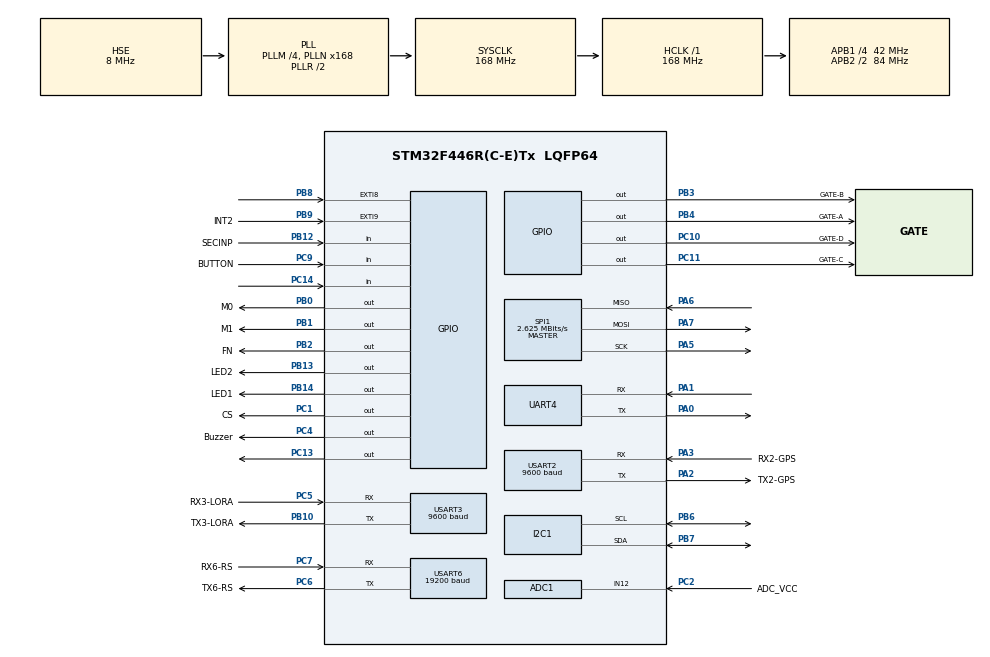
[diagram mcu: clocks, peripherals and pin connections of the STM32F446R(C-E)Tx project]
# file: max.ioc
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ADC1.Channel-11\#ChannelRegularConversion=ADC_CHANNEL_12
ADC1.ContinuousConvMode=ENABLE
ADC1.NbrOfConversionFlag=1
ADC1.Rank-11\#ChannelRegularConversion=1
ADC1.SamplingTime-11\#ChannelRegularConversion=ADC_SAMPLETIME_3CYCLES
ADC1.master=1
I2C1.I2C_Mode=I2C_Fast
Mcu.Family=STM32F4
Mcu.Name=STM32F446R(C-E)Tx
Mcu.Package=LQFP64
NVIC.ADC_IRQn=true\:0\:0\:false\:false\:true\:true\:true\:true
NVIC.PriorityGroup=NVIC_PRIORITYGROUP_4
NVIC.TIM1_TRG_COM_TIM11_IRQn=true\:0\:0\:false\:false\:true\:true\:true\:true
NVIC.TIM1_UP_TIM10_IRQn=true\:0\:0\:false\:false\:true\:true\:true\:true
NVIC.TIM2_IRQn=true\:0\:0\:false\:false\:true\:true\:true\:true
NVIC.TIM6_DAC_IRQn=true\:0\:0\:false\:false\:true\:true\:true\:true
NVIC.TIM7_IRQn=true\:0\:0\:false\:false\:true\:true\:true\:true
NVIC.USART2_IRQn=true\:0\:0\:false\:false\:true\:true\:true\:true
NVIC.USART3_IRQn=true\:0\:0\:false\:false\:true\:true\:true\:true
NVIC.USART6_IRQn=true\:0\:0\:false\:false\:true\:true\:true\:true
PA0-WKUP.Mode=Asynchronous
PA0-WKUP.Signal=UART4_TX
PA1.Mode=Asynchronous
PA1.Signal=UART4_RX
PA13.Mode=Serial_Wire
PA13.Signal=SYS_JTMS-SWDIO
PA14.Mode=Serial_Wire
PA14.Signal=SYS_JTCK-SWCLK
PA2.GPIO_Label=TX2-GPS
PA2.Mode=Asynchronous
PA2.Signal=USART2_TX
PA3.GPIO_Label=RX2-GPS
PA3.Mode=Asynchronous
PA3.Signal=USART2_RX
PA5.Mode=Full_Duplex_Master
PA5.Signal=SPI1_SCK
PA6.Mode=Full_Duplex_Master
PA6.Signal=SPI1_MISO
PA7.Mode=Full_Duplex_Master
PA7.Signal=SPI1_MOSI
PB0.GPIO_Label=M0
PB0.Signal=GPIO_Output
PB1.GPIO_Label=M1
PB1.Signal=GPIO_Output
PB10.GPIO_Label=TX3-LORA
PB10.Mode=Asynchronous
PB10.Signal=USART3_TX
PB12.GPIO_Label=SECINP
PB12.GPIO_PuPd=GPIO_PULLUP
PB12.Signal=GPIO_Input
PB13.GPIO_Label=LED2
PB13.Signal=GPIO_Output
PB14.GPIO_Label=LED1
PB14.Signal=GPIO_Output
PB2.GPIO_Label=FN
PB2.Signal=GPIO_Output
PB3.GPIO_Label=GATE-B
PB3.Signal=GPIO_Output
PB4.GPIO_Label=GATE-A
PB4.Signal=GPIO_Output
PB6.Mode=I2C
PB6.Signal=I2C1_SCL
PB7.Mode=I2C
PB7.Signal=I2C1_SDA
PB8.GPIO_ModeDefaultEXTI=GPIO_MODE_IT_RISING
PB8.Signal=GPXTI8
PB9.GPIO_Label=INT2
PB9.GPIO_PuPd=GPIO_NOPULL
PB9.Signal=GPXTI9
PC1.GPIO_Label=CS
PC1.Signal=GPIO_Output
PC10.GPIO_Label=GATE-D
PC10.Signal=GPIO_Output
PC11.GPIO_Label=GATE-C
PC11.Signal=GPIO_Output
PC13.Signal=GPIO_Output
PC14-OSC32_IN.GPIO_PuPd=GPIO_PULLDOWN
PC14-OSC32_IN.Signal=GPIO_Input
PC2.GPIO_Label=ADC_VCC
PC2.Signal=ADCx_IN12
PC4.GPIO_Label=Buzzer
PC4.Signal=GPIO_Output
PC5.GPIO_Label=RX3-LORA
PC5.Mode=Asynchronous
PC5.Signal=USART3_RX
PC6.GPIO_Label=TX6-RS
PC6.Mode=Asynchronous
PC6.Signal=USART6_TX
PC7.GPIO_Label=RX6-RS
PC7.Mode=Asynchronous
PC7.Signal=USART6_RX
PC9.GPIO_Label=BUTTON
PC9.GPIO_PuPd=GPIO_PULLUP
PC9.Signal=GPIO_Input
PH0-OSC_IN.Mode=HSE-External-Oscillator
PH0-OSC_IN.Signal=RCC_OSC_IN
PH1-OSC_OUT.Mode=HSE-External-Oscillator
PH1-OSC_OUT.Signal=RCC_OSC_OUT
ProjectManager.HeapSize=0x200
ProjectManager.StackSize=0x400
ProjectManager.TargetToolchain=STM32CubeIDE
RCC.AHBFreq_Value=168000000
RCC.APB1CLKDivider=RCC_HCLK_DIV4
RCC.APB1Freq_Value=42000000
RCC.APB1TimFreq_Value=84000000
RCC.APB2CLKDivider=RCC_HCLK_DIV2
RCC.APB2Freq_Value=84000000
RCC.APB2TimFreq_Value=168000000
RCC.CortexFreq_Value=168000000
RCC.HCLKFreq_Value=168000000
RCC.HSE_VALUE=8000000
RCC.PLLM=4
RCC.PLLN=168
RCC.PLLQ=7
RCC.PLLSourceVirtual=RCC_PLLSOURCE_HSE
RCC.SYSCLKFreq_VALUE=168000000
RCC.SYSCLKSource=RCC_SYSCLKSOURCE_PLLRCLK
RCC.USBFreq_Value=48000000
RCC.VCOOutputFreq_Value=336000000
SH.ADCx_IN12.0=ADC1_IN12,IN12
SPI1.BaudRatePrescaler=SPI_BAUDRATEPRESCALER_32
SPI1.CalculateBaudRate=2.625 MBits/s
SPI1.Direction=SPI_DIRECTION_2LINES
SPI1.Mode=SPI_MODE_MASTER
SPI1.VirtualType=VM_MASTER
TIM10.Period=3000-1
TIM10.Prescaler=1680
TIM11.Period=15000-1
TIM11.Prescaler=16800-1
TIM2.Period=12000-1
TIM2.Prescaler=8400-1
TIM6.Period=19999
TIM6.Prescaler=840
TIM7.Period=59999
TIM7.Prescaler=8400-1
UART4.VirtualMode=Asynchronous
USART2.BaudRate=9600
USART2.VirtualMode=VM_ASYNC
USART3.BaudRate=9600
USART3.VirtualMode=VM_ASYNC
USART6.BaudRate=19200
USART6.VirtualMode=VM_ASYNC
VP_FATFS_VS_Generic.Mode=User_defined
VP_TIM10_VS_ClockSourceINT.Mode=Enable_Timer
VP_TIM11_VS_ClockSourceINT.Mode=Enable_Timer
VP_TIM2_VS_ClockSourceINT.Mode=Internal
VP_TIM6_VS_ClockSourceINT.Mode=Enable_Timer
VP_TIM7_VS_ClockSourceINT.Mode=Enable_Timer
board=custom

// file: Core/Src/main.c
/* USER CODE BEGIN Header */
/**
  ******************************************************************************
  * @file           : main.c
  * @brief          : Main program body
  ******************************************************************************
  * @attention
  *
  * Copyright (c) 2024 STMicroelectronics.
  * All rights reserved.
  *
  * This software is licensed under terms that can be found in the LICENSE file
  * in the root directory of this software component.
  * If no LICENSE file comes with this software, it is provided AS-IS.
  *
  ******************************************************************************
  */
/* USER CODE END Header */
#include "main.h"
#include "fatfs.h"

/* USER CODE BEGIN Includes */
#include "lwgps/lwgps.h"
#include "LSM6DSLTR.h"
#include "./BME280/bme280.h"
#include "W25Qxx.h"
#include <math.h>
#include "FIR_FILTER.h"
#include "stdio.h"
#include "string.h"
#include "kalman.h"

/* USER CODE END Includes */

/* USER CODE BEGIN PD */
#define LORA_TX_BUFFER_SIZE 75
#define EGU_RX_BUFFER_SIZE 34
#define RX_BUFFER_SIZE 128
#define DEVICE_ID 2

#define GyroAlfa	0.2 //0.01
#define AccAlfa		0.4 // 0.1
#define HP_alpha 	0.92f // 0.8 en iyi
#define LP_alpha 	0.55f // 0.4 en iyi
#define beta		0.85
/* USER CODE END PD */

ADC_HandleTypeDef hadc1;

I2C_HandleTypeDef hi2c1;

SPI_HandleTypeDef hspi1;

TIM_HandleTypeDef htim2;
TIM_HandleTypeDef htim6;
TIM_HandleTypeDef htim7;
TIM_HandleTypeDef htim10;
TIM_HandleTypeDef htim11;

UART_HandleTypeDef huart4;
UART_HandleTypeDef huart2;
UART_HandleTypeDef huart3;
UART_HandleTypeDef huart6;

/* USER CODE BEGIN PV */
uint8_t EGU_RX_BUFFER[EGU_RX_BUFFER_SIZE];
uint8_t rx_data_EGU=0;
uint8_t rx_index_EGU=0;
const uint8_t EGU_durum_sorgusu[5]={0x54,0x52,0x35,0x0D,0x0A};
const uint8_t EGU_motor_atesleme[5]={0x54,0x52,0x32,0x0D,0x0A};

float adc_pil_val=0;
float adc =0;
uint8_t counter=0;
uint8_t adc_flag=0;

uint8_t rx_buffer[RX_BUFFER_SIZE];
uint8_t rx_index=0;
uint8_t rx_data=0;

uint8_t kademe_flag=0;
uint8_t timer_start_flag =0;
uint8_t altitude_rampa_control =0;

uint32_t page =0;
uint8_t offset =1;
uint8_t flash_flag =0;
uint8_t flash_timer =0;
uint8_t timer_200ms_flag =0;

int buzzer_long=0 , buzzer_short=0, buzzer_ariza=0 ;
int buzzer_short_counter , buzzer_long_counter , buzzer_ariza_counter;

float zaman=0 , zaman2=0, altitude_max=0;

uint8_t v4_battery=0;
uint8_t v4_mod=0;
uint8_t magnetic_switch=0;
uint8_t BUTTON_STATE=0;

uint8_t writeData[50] = {0,1,1,1};
uint8_t readData[50] = {0};
uint8_t i=0;
uint8_t i_flag=0;
uint8_t flash_altitude[1024]={0};
uint8_t flash_accX[1024]={0};
uint8_t flash_accZ[1024]={0};
uint8_t flash_accY[1024]={0};
uint8_t flash_gyroX[1024]={0};
uint8_t flash_gyroY[1024]={0};
uint8_t flash_gyroZ[1024]={0};

uint8_t loratx[LORA_TX_BUFFER_SIZE];
uint8_t test[256];
uint8_t lora_flag=0;
uint8_t sensor_flag=0;
uint8_t egu_durum_flag=0;
uint8_t egu_ok=0;
int kontrol_number=0 , speed_time, speed_time_prev;
int new_data=0;

float temperature=0;
float humidity=0;
float altitude=0;
float offset_altitude=0;
float pressure=0;
float alt=0;
float P0 = 1013.25;
float prev_alt=0;
float speed=0, speed_max=0;;
float altitude_kalman;

float real_pitch, real_roll , toplam_pitch,toplam_roll , toplam_accX , toplam_accY , toplam_accZ, toplam_gX,toplam_gY,toplam_gZ ,
	  toplam_normal,real_normal, x_max;
float offset_x,offset_y,offset_z, gyroX_prev, gyroY_prev,gyroZ_prev,
	  accX_prev, accY_prev,accZ_prev;
float filtered_gyroX ,filtered_gyroY,filtered_gyroZ, filtered_accX,
	  filtered_accY,filtered_accZ;
float filtered_gyro[3] , filtered_gyro_HP[3];
float filtered_acc_LP[3] , filtered_acc[3];
float gravity_normal_angle;

float gyroX_HP_prev = 0.0f, gyroY_HP_prev = 0.0f, gyroZ_HP_prev = 0.0f;
float filtered_gyro_HP_X = 0.0f, filtered_gyro_HP_Y = 0.0f, filtered_gyro_HP_Z = 0.0f;

float gyroX_LP_prev = 0.0f, gyroY_LP_prev = 0.0f, gyroZ_LP_prev = 0.0f , filtered_gyro_LP[3];

float looptime, prev_time1;

uint8_t  sensor_counter =0;

typedef union{
  float fVal;
  unsigned char array[4];
}float2unit8;

KalmanFilter kf , na , pa , ax,ay,az,gx,gy,gz;

enum ZORLU2024
{
	RAMPA,UCUS_BASLADI,KADEMEAYRILDIMI,AYRILDI,APOGEE,SUSTAINER_ANA,FINISH
};
enum ZORLU2024 SUSTAINER;

/* USER CODE END PV */

void SystemClock_Config(void);
static void MX_GPIO_Init(void);
static void MX_ADC1_Init(void);
static void MX_I2C1_Init(void);
static void MX_SPI1_Init(void);
static void MX_UART4_Init(void);
static void MX_USART2_UART_Init(void);
static void MX_USART3_UART_Init(void);
static void MX_USART6_UART_Init(void);
static void MX_TIM11_Init(void);
static void MX_TIM10_Init(void);
static void MX_TIM6_Init(void);
static void MX_TIM7_Init(void);
static void MX_TIM2_Init(void);
/* USER CODE BEGIN PFP */
int16_t I2C_Testsensor(void);
int8_t user_i2c_read(uint8_t id, uint8_t reg_addr, uint8_t *data, uint16_t len);
int8_t user_i2c_write(uint8_t id, uint8_t reg_addr, uint8_t *data, uint16_t len);
void user_delay_ms(uint32_t period);
float BME280_Get_Altitude(void);
void E220_CONFIG(uint8_t ADDH, uint8_t ADDL, uint8_t CHN, uint8_t MODE);
void union_converter(void);
void EGU_Buff_Load(void);
void Buzzer(int how_many , uint32_t how_long);
void Altitude_Offset();
void Flash_toplu_temizleme(int page);

/* USER CODE END PFP */

/* USER CODE BEGIN 0 */
lwgps_t gps;
LSM6DSLTR Lsm_Sensor;

FIRFilter accy;
FIRFilter accz;
FIRFilter accx;
FIRFilter IMU_GYROX;
FIRFilter IMU_GYROY;
FIRFilter IMU_GYROZ;
FIRFilter Normal;

struct bme280_dev dev;
struct bme280_data comp_data;
int8_t rslt=0;
float2unit8 conv;

float map( long A , long B , long C , long D, long E)
{
	return ( A - B) * (E - D ) / (C - B )+ D ;
}

void HAL_UART_RxCpltCallback(UART_HandleTypeDef *huart)
{
	if(huart==&huart2){
	if(rx_data != '\n' && rx_index < RX_BUFFER_SIZE) {
		rx_buffer[rx_index++] = rx_data;
	} else {
		lwgps_process(&gps, rx_buffer, rx_index+1);
		rx_index = 0;
		rx_data = 0;
	}
	HAL_UART_Receive_IT(&huart2, &rx_data, 1);
	}

	if(huart == &huart6){
		if(rx_data_EGU != '\n' && rx_index_EGU <34){//sol taraf silinebilir
			EGU_RX_BUFFER[rx_index_EGU++]=rx_data_EGU;

		}
		else
		{
			rx_data_EGU=0;
			rx_index_EGU=0;

		}
	HAL_UART_Receive_IT(&huart6, &rx_data_EGU, 1);
		}
}

void HAL_TIM_PeriodElapsedCallback(TIM_HandleTypeDef *htim)
{

	if(htim==&htim11){ // 1 sn
   lora_flag=1;

	}

	if(htim==&htim10){ //30ms
	sensor_flag=1;

	}

	if(htim==&htim6){ // 200 ms timer
	timer_200ms_flag = 1;
	egu_durum_flag=1;

		if(counter == 15)
		{
			adc_flag=1;
			counter =0;
			HAL_ADC_Start_IT(&hadc1);
		}

	}

}

void HAL_ADC_ConvCpltCallback(ADC_HandleTypeDef* hadc)
{
	if(hadc->Instance == ADC1 )
	{
		adc= HAL_ADC_GetValue(&hadc1);

		adc_flag = 1;
	}
}
/**********************************************/

/* USER CODE END 0 */

int main(void)
{

  /* MCU Configuration--------------------------------------------------------*/

  /* Reset of all peripherals, Initializes the Flash interface and the Systick. */
  HAL_Init();

  /* Configure the system clock */
  SystemClock_Config();

  /* Initialize all configured peripherals */
  MX_GPIO_Init();
  MX_ADC1_Init();
  MX_I2C1_Init();
  MX_SPI1_Init();
  MX_UART4_Init();
  MX_USART2_UART_Init();
  MX_USART3_UART_Init();
  MX_USART6_UART_Init();
  MX_FATFS_Init();
  MX_TIM11_Init();
  MX_TIM10_Init();
  MX_TIM6_Init();
  MX_TIM7_Init();
  MX_TIM2_Init();
  /* USER CODE BEGIN 2 */

  HAL_GPIO_WritePin(GPIOC, GPIO_PIN_1, GPIO_PIN_SET);
  HAL_GPIO_WritePin(GPIOB, GPIO_PIN_2, GPIO_PIN_SET);
  HAL_GPIO_WritePin(GPIOC, GPIO_PIN_13, GPIO_PIN_SET);

  ///KURTARMA PORTLARI KAPALI EMIN OL
  HAL_GPIO_WritePin(GPIOB, GPIO_PIN_4, GPIO_PIN_RESET);//A
  HAL_GPIO_WritePin(GPIOB, GPIO_PIN_3, GPIO_PIN_RESET);//B
  HAL_GPIO_WritePin(GPIOC, GPIO_PIN_11, GPIO_PIN_RESET);//C
  HAL_GPIO_WritePin(GPIOC, GPIO_PIN_10, GPIO_PIN_RESET);//D

  HAL_UART_Receive_IT(&huart2,&rx_data,1);
  HAL_UART_Receive_IT(&huart6, &rx_data_EGU, 1);
  HAL_TIM_Base_Start_IT(&htim11);
  HAL_TIM_Base_Start_IT(&htim10);
  HAL_TIM_Base_Start_IT(&htim6);
  HAL_TIM_Base_Stop_IT(&htim7);
  //HAL_TIM_Base_Start_IT(&htim2);

  MAFilter_Init(&accx);
  FIRFilter_Init(&IMU_GYROY);
  FIRFilter_Init(&IMU_GYROX);
  FIRFilter_Init(&IMU_GYROZ);
  FIRFilter_Init(&Normal);
  KalmanFilter_Init(&ax, 0.2, 2, toplam_accX);
  KalmanFilter_Init(&ay, 0.2, 2, toplam_accY);
  KalmanFilter_Init(&az, 0.2, 2, toplam_accZ);
  KalmanFilter_Init(&gx, 0.2, 2, toplam_gX);
  KalmanFilter_Init(&gy, 0.2, 2, toplam_gY);
  KalmanFilter_Init(&gz, 0.2, 2, toplam_gZ);
  KalmanFilter_Init(&kf, 0.2, 1, toplam_gZ);

  lwgps_init(&gps);
 // W25Q_Reset();
  LSM6DSLTR_Init();
  E220_CONFIG(0x6,0x4A,0X10,1);
  HAL_ADC_Start_IT(&hadc1);

  dev.dev_id = BME280_I2C_ADDR_PRIM;
  dev.intf = BME280_I2C_INTF;
  dev.read = user_i2c_read;
  dev.write = user_i2c_write;
  dev.delay_ms = user_delay_ms;

  rslt = bme280_init(&dev);

  dev.settings.osr_h = BME280_OVERSAMPLING_1X;
  dev.settings.osr_p = BME280_OVERSAMPLING_4X;
  dev.settings.osr_t = BME280_OVERSAMPLING_2X;
  dev.settings.filter = BME280_FILTER_COEFF_16;
  rslt = bme280_set_sensor_settings(BME280_OSR_PRESS_SEL | BME280_OSR_TEMP_SEL | BME280_OSR_HUM_SEL | BME280_FILTER_SEL, &dev);

  ////ALTITUDE OFFSET

  for(int i = 0; i<5;i++)
  {

	      LSM6DSLTR_Read_Gyro_Data(&Lsm_Sensor);

	      offset_x += Lsm_Sensor.Gyro_X;
		  offset_y += Lsm_Sensor.Gyro_Y;
		  offset_z += Lsm_Sensor.Gyro_Z;
		  HAL_Delay(10);
  }
  offset_x=offset_x/5;
  offset_y=offset_y/5;
  offset_z=offset_z/5;

   HAL_GPIO_TogglePin(GPIOC, GPIO_PIN_4);
   Altitude_Offset();
   HAL_Delay(1000);
   HAL_GPIO_TogglePin(GPIOC, GPIO_PIN_4);

 //  W25Q_Read(1, 0,  256, test);
//   HAL_GPIO_WritePin(GPIOB, GPIO_PIN_4, SET);
//   HAL_Delay(2000);
//   HAL_GPIO_WritePin(GPIOB, GPIO_PIN_4, RESET);

 //  W25Q_Read(1, 0, sizeof(flash_accX), flash_accX);
   buzzer_short = 0;

  /* USER CODE END 2 */

  /* Infinite loop */
  /* USER CODE BEGIN WHILE */
  while (1)
  {

/********************* Sensor Ölçüm **************************************************/

	  if(sensor_flag == 1)
	  {
	      sensor_flag = 0;
	      prev_alt = altitude;
	      rslt = bme280_set_sensor_mode(BME280_FORCED_MODE, &dev);
	      rslt = bme280_get_sensor_data(BME280_ALL, &comp_data, &dev);

	      LSM6DSLTR_Read_Accel_Data(&Lsm_Sensor);
	      LSM6DSLTR_Read_Gyro_Data(&Lsm_Sensor);

	      toplam_accX += KalmanFilter_Update(&ax,Lsm_Sensor.Accel_X);
	      toplam_accY += KalmanFilter_Update(&ay,Lsm_Sensor.Accel_Y );
	      toplam_accZ += KalmanFilter_Update(&az,Lsm_Sensor.Accel_Z );
	      toplam_gX +=  KalmanFilter_Update(&gx,Lsm_Sensor.Gyro_X-offset_x  );
	      toplam_gY +=  KalmanFilter_Update(&gy,Lsm_Sensor.Gyro_Y -offset_y );
	      toplam_gZ +=  KalmanFilter_Update(&gz,Lsm_Sensor.Gyro_Z -offset_z );

	      sensor_counter++;
	      if(sensor_counter == 10)
	      {

		      if(rslt == BME280_OK )
		      {
		          temperature = comp_data.temperature / 100.00;
		          humidity = comp_data.humidity;
		          pressure = comp_data.pressure;
		          altitude = BME280_Get_Altitude() - offset_altitude;
		          altitude_kalman = KalmanFilter_Update(&kf, altitude);
		         // speed_time = (HAL_GetTick()-speed_time_prev)/1000.0f;
		          speed = (altitude - prev_alt) * 3.33;
		         // speed_time_prev = speed_time;
		      }

				  // High pass filter for gyroscope data
//			  filtered_gyro_HP_X = HP_alpha * (gyroX_HP_prev + toplam_gX/10.0f - gyroX_HP_prev);
//			  filtered_gyro_HP_Y = HP_alpha * (gyroY_HP_prev + toplam_gY/10.0f - gyroY_HP_prev);
//			  filtered_gyro_HP_Z = HP_alpha * (gyroZ_HP_prev + toplam_gZ/10.0f - gyroZ_HP_prev);

			  filtered_gyro_LP[0] = LP_alpha * toplam_gX/10.0f + (1.0 - LP_alpha) * gyroX_LP_prev;
			  filtered_gyro_LP[1] = LP_alpha * toplam_gY/10.0f + (1.0 - LP_alpha) * gyroY_LP_prev ;
			  filtered_gyro_LP[2] = LP_alpha * toplam_gZ/10.0f + (1.0 - LP_alpha) * gyroZ_LP_prev;

			/*************************** ********************************/
			  filtered_gyro_HP_X = beta * (gyroX_HP_prev +  filtered_gyro_LP[0] - gyroX_LP_prev);
			  filtered_gyro_HP_Y = beta * (gyroY_HP_prev + filtered_gyro_LP[1] - gyroY_LP_prev);
			  filtered_gyro_HP_Z = beta * (gyroZ_HP_prev +  filtered_gyro_LP[2] - gyroZ_LP_prev);

			  gyroX_LP_prev =  filtered_gyro_LP[0];
			  gyroY_LP_prev =  filtered_gyro_LP[1];
			  gyroZ_LP_prev =  filtered_gyro_LP[2];

			  // Low pass filter for accelerometer data
			  filtered_acc_LP[0] = LP_alpha * filtered_acc_LP[0] + (1 - LP_alpha) *  toplam_accX / 10.0;
			  filtered_acc_LP[1] = LP_alpha * filtered_acc_LP[1] + (1 - LP_alpha) *  toplam_accY / 10.0;
			  filtered_acc_LP[2] = LP_alpha * filtered_acc_LP[2] + (1 - LP_alpha) *  toplam_accZ / 10.0;

			  gyroX_HP_prev = filtered_gyro_HP_X;
			  gyroY_HP_prev = filtered_gyro_HP_Y;
			  gyroZ_HP_prev = filtered_gyro_HP_Z;

			  real_roll = atan2f(filtered_acc_LP[1], sqrtf(filtered_acc_LP[0] * filtered_acc_LP[0] + filtered_acc_LP[2] * filtered_acc_LP[2] +  1e-10)) * 180.0f / 3.14;
			  real_pitch = atan2f(-filtered_acc_LP[0], sqrtf(filtered_acc_LP[1] * filtered_acc_LP[1] + filtered_acc_LP[2] * filtered_acc_LP[2]+ 1e-10)) * 180.0f / 3.14;

			  uint32_t current_time = HAL_GetTick(); // current time
			  float dt = (current_time - prev_time1) / 1000.0f;

			  real_roll = ALPHA * (real_roll + filtered_gyro_HP_X * dt) + (1 - ALPHA) * real_roll;
			  real_pitch = ALPHA * (real_pitch + filtered_gyro_HP_Y * dt) + (1 - ALPHA) * real_pitch;

			  prev_time1 = current_time;
			  gravity_normal_angle = sqrtf(real_roll * real_roll + real_pitch * real_pitch);

			  toplam_roll = 0;
			  toplam_pitch = 0;
			  toplam_accX = 0;
			  toplam_accY = 0;
			  toplam_accZ = 0;
			  toplam_gX = 0;
			  toplam_gY = 0;
			  toplam_gZ = 0;
			  sensor_counter = 0;
			  new_data =1;
	      }

	      magnetic_switch = HAL_GPIO_ReadPin(GPIOC, GPIO_PIN_14);
	      BUTTON_STATE = HAL_GPIO_ReadPin(GPIOC, GPIO_PIN_9);
	  }

/********************Lora Ayar ve Gönderme*****************************************************/
	if(lora_flag==1)
	{
	    lora_flag=0;

		loratx[0]=0x8;
		loratx[1]=0x2A;
		loratx[2]=0x10;
		loratx[3]=DEVICE_ID;
		loratx[4]=gps.sats_in_view;

		union_converter();

		loratx[49]=v4_battery;
		loratx[50]=0x31;// v4mod
		loratx[51]=magnetic_switch;

		loratx[73] = v4_mod;

		////////EGU PART
		EGU_Buff_Load();

		HAL_UART_Transmit_IT(&huart3,loratx,sizeof(loratx));
		//HAL_UART_Transmit(&huart3,loratx,sizeof(loratx), 1000);

	}

/************ EGÜ durum sorgusu gönder **************************************************/
	if(egu_durum_flag==1)
	{
		egu_durum_flag=0;
		HAL_UART_Transmit(&huart6, EGU_durum_sorgusu, 5, 1000);
	}

/**************************Algoritma****************************************************/
		  switch(SUSTAINER){

		  case RAMPA:
						v4_mod=1;
					  //RAMPA MODU ROKET RAMPADA EGÜ SWİTCHLERİ VE ALT KADEME HABERLE�?ME KONTROL ET

						if(Lsm_Sensor.Accel_X > 5 && new_data == 1 )
						  {
							kontrol_number++;
							new_data =0;

						  }
						if(kontrol_number >3)
						{
							SUSTAINER=UCUS_BASLADI;
							kontrol_number=0;
							HAL_GPIO_TogglePin(GPIOC, GPIO_PIN_4);
						}

			  break;

		  case UCUS_BASLADI:
						v4_mod=2;
						// FLASH MEMORYE KAYDETMEYE BASLA

						SUSTAINER=KADEMEAYRILDIMI;

			 break;

		  case KADEMEAYRILDIMI:
						v4_mod=3;
							  //ALT KADEMEDEN GELEN SİNYALE VE EGÜ SWİTCHLERİNE BAK
							  //BELLİ BİR SÜRE VE İRTİFA BOYUNCA AYRILMA OLMAZSA APOGEE YA GEÇ
						if(timer_start_flag == 0){

							__HAL_TIM_SET_COUNTER(&htim7 , 0);
							HAL_TIM_Base_Start(&htim7);
							timer_start_flag =1;
						}

						if((magnetic_switch==0) && TIM7->CNT >= 45000 && altitude_rampa_control == 1)
						{
							kontrol_number++;
							 new_data=0;
						}

						if(kontrol_number >10)
						{
							 SUSTAINER=AYRILDI;
							kontrol_number=0;
						}

			 break;

		  case AYRILDI:
						v4_mod=4;
							  //MOTOR ATE�?LEME TALEBİ GÖNDER MEGU YE MESAJ AT

						HAL_UART_Transmit(&huart6, EGU_motor_atesleme, 5, 1000);
						HAL_UART_Transmit(&huart6, EGU_motor_atesleme, 5, 1000);
						HAL_UART_Transmit(&huart6, EGU_motor_atesleme, 5, 1000);
						HAL_UART_Transmit(&huart6, EGU_motor_atesleme, 5, 1000);
						HAL_UART_Transmit(&huart6, EGU_motor_atesleme, 5, 1000);
						SUSTAINER=APOGEE;

			 break;

		  case APOGEE:
						v4_mod=5;
							  //AYRILMA GERÇEKLE�?MESE BİLE APOGEE İLE ROKETİ KURTAR *ucus basladı kısmına timer kuracam ona göre ayrıldımıdan APOGEEya geçecek

						if(/*Lsm_Sensor.Accel_X <0 && */ altitude < altitude_max && new_data ==1 && real_pitch <60 )
						{
							kontrol_number++;
							 new_data=0;

						}
						if(kontrol_number >10)
						{
							SUSTAINER=SUSTAINER_ANA;
							altitude_rampa_control =0;
							HAL_GPIO_WritePin(GPIOB, GPIO_PIN_4, SET);
							kontrol_number=0;
							HAL_GPIO_TogglePin(GPIOC, GPIO_PIN_4);
						}

			 break;

		  case SUSTAINER_ANA:
						v4_mod=6;
							  //AYRILDI VEYA APOGEEDAN GELEN APOGEE BİLGİSİNDEN SONRA İSTENEN İRTİFADA ANA PARA�?ÜT AÇ

						if(altitude <= 500 && speed < 0  && altitude_rampa_control == 0 && new_data==1 )
						{
							kontrol_number++;
							 new_data=0;
						}
						if(kontrol_number >10)
						{
						SUSTAINER=FINISH;
						HAL_GPIO_WritePin(GPIOB, GPIO_PIN_3, SET);
						HAL_GPIO_WritePin(GPIOB, GPIO_PIN_4, RESET);
						HAL_Delay(50);
							kontrol_number=0;
							flash_flag=1;
						}

			  break;

		  case FINISH:
						v4_mod=7;
							  //KURTARMA GERÇEKLE�?Tİ VERİ KAYDETMEYİ BIRAK VE BUZZERI AÇ

						HAL_GPIO_WritePin(GPIOB, GPIO_PIN_3, RESET);

			  break;
		  }

/**************************************************************************************/
		  if(altitude >100 && SUSTAINER <3)
		  {
			  altitude_rampa_control =1;
		  }
/*************************************************************************************/
		  if(altitude>altitude_max) altitude_max = altitude;

		  if(speed>speed_max) speed_max = speed;

		  if( Lsm_Sensor.Accel_X> x_max) x_max =  Lsm_Sensor.Accel_X;
/**************************************************************************************/
		  if(adc_flag ==1)
		  {
			  if(adc > 2476) adc = 2234;
			  if(adc < 1755) adc = 1755;
			  // 6V = 1755 adc val 1,41V
			  // 8.4V = 2476 adc val 1,99V 0,58V
			 adc_pil_val=(float)( ( ( (adc/4095)*3.3)-1.41) / (1.99-1.41) ) *100 ; // pil conv
			 // adc_pil_val = (adc-1755)/(2746-1755)*100;
			  v4_battery=adc_pil_val;
			  adc_flag=0;
		  }
/**********************Flash Kayıt*********************************************************/
//	if( i_flag == 1 && flash_flag == 1 && SUSTAINER >=6 ) //
//	{
//
//		W25Q_Write(page, 0, 256, flash_accX);
//		HAL_Delay(200);
//		page++;
//		W25Q_Write(page, 0, 256, flash_accY);
//		HAL_Delay(200);
//		page++;
//		W25Q_Write(page, 0, 256, flash_accZ);
//		HAL_Delay(200);
//		page++;
//		W25Q_Write(page, 0,256, flash_gyroX);
//		HAL_Delay(200);
//		page++;
//		W25Q_Write(page, 0, 256, flash_gyroY);
//		HAL_Delay(200);
//		page++;
//		W25Q_Write(page, 0,256, flash_gyroZ);
//		HAL_Delay(200);
//		page++;
//		W25Q_Write(page, 0,256, flash_altitude);
//		HAL_Delay(200);
//
//		W25Q_Read(page, 0,  256, test);
//
//		flash_flag=0;
//		i_flag=0;
//	}
//
	if( timer_200ms_flag == 1 && i_flag ==0 /*&& SUSTAINER >=1*/)
	{
		if(i >= 252) {
			i_flag=1;
		}

		conv.fVal=Lsm_Sensor.Accel_X;

		flash_accX[i] = conv.array[0];
		flash_accX[i+1] = conv.array[1];
		flash_accX[i+2] = conv.array[2];
		flash_accX[i+3] = conv.array[3];

		conv.fVal=Lsm_Sensor.Accel_Y;
		flash_accY[i] = conv.array[0];
		flash_accY[i+1] = conv.array[1];
		flash_accY[i+2] = conv.array[2];
		flash_accY[i+3] = conv.array[3];

		conv.fVal=Lsm_Sensor.Accel_Z;
		flash_accZ[i] = conv.array[0];
		flash_accZ[i+1] = conv.array[1];
		flash_accZ[i+2] = conv.array[2];
		flash_accZ[i+3] = conv.array[3];

		conv.fVal=Lsm_Sensor.Gyro_X;
		flash_gyroX[i] = conv.array[0];
		flash_gyroX[i+1] = conv.array[1];
		flash_gyroX[i+2] = conv.array[2];
		flash_gyroX[i+3] = conv.array[3];

		conv.fVal=Lsm_Sensor.Gyro_Y;
		flash_gyroY[i] = conv.array[0];
		flash_gyroY[i+1] = conv.array[1];
		flash_gyroY[i+2] = conv.array[2];
		flash_gyroY[i+3] = conv.array[3];

		conv.fVal=Lsm_Sensor.Gyro_Z;
		flash_gyroZ[i] = conv.array[0];
		flash_gyroZ[i+1] = conv.array[1];
		flash_gyroZ[i+2] = conv.array[2];
		flash_gyroZ[i+3] = conv.array[3];

		conv.fVal=altitude_kalman;
		flash_altitude[i] = conv.array[0];
		flash_altitude[i+1] = conv.array[1];
		flash_altitude[i+2] = conv.array[2];
		flash_altitude[i+3] = conv.array[3];

		timer_200ms_flag =0;

		i=i+4;

	}
/***********************************END*************************************************/
    /* USER CODE END WHILE */

  }
}

void SystemClock_Config(void)
{
  RCC_OscInitTypeDef RCC_OscInitStruct = {0};
  RCC_ClkInitTypeDef RCC_ClkInitStruct = {0};

  /** Configure the main internal regulator output voltage
  */
  __HAL_RCC_PWR_CLK_ENABLE();
  __HAL_PWR_VOLTAGESCALING_CONFIG(PWR_REGULATOR_VOLTAGE_SCALE1);

  /** Initializes the RCC Oscillators according to the specified parameters
  * in the RCC_OscInitTypeDef structure.
  */
  RCC_OscInitStruct.OscillatorType = RCC_OSCILLATORTYPE_HSE;
  RCC_OscInitStruct.HSEState = RCC_HSE_ON;
  RCC_OscInitStruct.PLL.PLLState = RCC_PLL_ON;
  RCC_OscInitStruct.PLL.PLLSource = RCC_PLLSOURCE_HSE;
  RCC_OscInitStruct.PLL.PLLM = 4;
  RCC_OscInitStruct.PLL.PLLN = 168;
  RCC_OscInitStruct.PLL.PLLP = RCC_PLLP_DIV2;
  RCC_OscInitStruct.PLL.PLLQ = 7;
  RCC_OscInitStruct.PLL.PLLR = 2;
  if (HAL_RCC_OscConfig(&RCC_OscInitStruct) != HAL_OK)
  {
    Error_Handler();
  }

  /** Initializes the CPU, AHB and APB buses clocks
  */
  RCC_ClkInitStruct.ClockType = RCC_CLOCKTYPE_HCLK|RCC_CLOCKTYPE_SYSCLK
                              |RCC_CLOCKTYPE_PCLK1|RCC_CLOCKTYPE_PCLK2;
  RCC_ClkInitStruct.SYSCLKSource = RCC_SYSCLKSOURCE_PLLRCLK;
  RCC_ClkInitStruct.AHBCLKDivider = RCC_SYSCLK_DIV1;
  RCC_ClkInitStruct.APB1CLKDivider = RCC_HCLK_DIV4;
  RCC_ClkInitStruct.APB2CLKDivider = RCC_HCLK_DIV2;

  if (HAL_RCC_ClockConfig(&RCC_ClkInitStruct, FLASH_LATENCY_5) != HAL_OK)
  {
    Error_Handler();
  }
}

static void MX_ADC1_Init(void)
{

  ADC_ChannelConfTypeDef sConfig = {0};

  /** Configure the global features of the ADC (Clock, Resolution, Data Alignment and number of conversion)
  */
  hadc1.Instance = ADC1;
  hadc1.Init.ClockPrescaler = ADC_CLOCK_SYNC_PCLK_DIV4;
  hadc1.Init.Resolution = ADC_RESOLUTION_12B;
  hadc1.Init.ScanConvMode = DISABLE;
  hadc1.Init.ContinuousConvMode = ENABLE;
  hadc1.Init.DiscontinuousConvMode = DISABLE;
  hadc1.Init.ExternalTrigConvEdge = ADC_EXTERNALTRIGCONVEDGE_NONE;
  hadc1.Init.ExternalTrigConv = ADC_SOFTWARE_START;
  hadc1.Init.DataAlign = ADC_DATAALIGN_RIGHT;
  hadc1.Init.NbrOfConversion = 1;
  hadc1.Init.DMAContinuousRequests = DISABLE;
  hadc1.Init.EOCSelection = ADC_EOC_SINGLE_CONV;
  if (HAL_ADC_Init(&hadc1) != HAL_OK)
  {
    Error_Handler();
  }

  /** Configure for the selected ADC regular channel its corresponding rank in the sequencer and its sample time.
  */
  sConfig.Channel = ADC_CHANNEL_12;
  sConfig.Rank = 1;
  sConfig.SamplingTime = ADC_SAMPLETIME_3CYCLES;
  if (HAL_ADC_ConfigChannel(&hadc1, &sConfig) != HAL_OK)
  {
    Error_Handler();
  }

}

static void MX_I2C1_Init(void)
{

  hi2c1.Instance = I2C1;
  hi2c1.Init.ClockSpeed = 400000;
  hi2c1.Init.DutyCycle = I2C_DUTYCYCLE_2;
  hi2c1.Init.OwnAddress1 = 0;
  hi2c1.Init.AddressingMode = I2C_ADDRESSINGMODE_7BIT;
  hi2c1.Init.DualAddressMode = I2C_DUALADDRESS_DISABLE;
  hi2c1.Init.OwnAddress2 = 0;
  hi2c1.Init.GeneralCallMode = I2C_GENERALCALL_DISABLE;
  hi2c1.Init.NoStretchMode = I2C_NOSTRETCH_DISABLE;
  if (HAL_I2C_Init(&hi2c1) != HAL_OK)
  {
    Error_Handler();
  }

}

static void MX_SPI1_Init(void)
{

  /* SPI1 parameter configuration*/
  hspi1.Instance = SPI1;
  hspi1.Init.Mode = SPI_MODE_MASTER;
  hspi1.Init.Direction = SPI_DIRECTION_2LINES;
  hspi1.Init.DataSize = SPI_DATASIZE_8BIT;
  hspi1.Init.CLKPolarity = SPI_POLARITY_LOW;
  hspi1.Init.CLKPhase = SPI_PHASE_1EDGE;
  hspi1.Init.NSS = SPI_NSS_SOFT;
  hspi1.Init.BaudRatePrescaler = SPI_BAUDRATEPRESCALER_32;
  hspi1.Init.FirstBit = SPI_FIRSTBIT_MSB;
  hspi1.Init.TIMode = SPI_TIMODE_DISABLE;
  hspi1.Init.CRCCalculation = SPI_CRCCALCULATION_DISABLE;
  hspi1.Init.CRCPolynomial = 10;
  if (HAL_SPI_Init(&hspi1) != HAL_OK)
  {
    Error_Handler();
  }

}

static void MX_TIM2_Init(void)
{

  TIM_ClockConfigTypeDef sClockSourceConfig = {0};
  TIM_MasterConfigTypeDef sMasterConfig = {0};

  htim2.Instance = TIM2;
  htim2.Init.Prescaler = 8400-1;
  htim2.Init.CounterMode = TIM_COUNTERMODE_UP;
  htim2.Init.Period = 12000-1;
  htim2.Init.ClockDivision = TIM_CLOCKDIVISION_DIV1;
  htim2.Init.AutoReloadPreload = TIM_AUTORELOAD_PRELOAD_DISABLE;
  if (HAL_TIM_Base_Init(&htim2) != HAL_OK)
  {
    Error_Handler();
  }
  sClockSourceConfig.ClockSource = TIM_CLOCKSOURCE_INTERNAL;
  if (HAL_TIM_ConfigClockSource(&htim2, &sClockSourceConfig) != HAL_OK)
  {
    Error_Handler();
  }
  sMasterConfig.MasterOutputTrigger = TIM_TRGO_RESET;
  sMasterConfig.MasterSlaveMode = TIM_MASTERSLAVEMODE_DISABLE;
  if (HAL_TIMEx_MasterConfigSynchronization(&htim2, &sMasterConfig) != HAL_OK)
  {
    Error_Handler();
  }

}

static void MX_TIM6_Init(void)
{

  TIM_MasterConfigTypeDef sMasterConfig = {0};

  htim6.Instance = TIM6;
  htim6.Init.Prescaler = 840;
  htim6.Init.CounterMode = TIM_COUNTERMODE_UP;
  htim6.Init.Period = 19999;
  htim6.Init.AutoReloadPreload = TIM_AUTORELOAD_PRELOAD_DISABLE;
  if (HAL_TIM_Base_Init(&htim6) != HAL_OK)
  {
    Error_Handler();
  }
  sMasterConfig.MasterOutputTrigger = TIM_TRGO_RESET;
  sMasterConfig.MasterSlaveMode = TIM_MASTERSLAVEMODE_DISABLE;
  if (HAL_TIMEx_MasterConfigSynchronization(&htim6, &sMasterConfig) != HAL_OK)
  {
    Error_Handler();
  }

}

static void MX_TIM7_Init(void)
{

  TIM_MasterConfigTypeDef sMasterConfig = {0};

  htim7.Instance = TIM7;
  htim7.Init.Prescaler = 8400-1;
  htim7.Init.CounterMode = TIM_COUNTERMODE_UP;
  htim7.Init.Period = 59999;
  htim7.Init.AutoReloadPreload = TIM_AUTORELOAD_PRELOAD_DISABLE;
  if (HAL_TIM_Base_Init(&htim7) != HAL_OK)
  {
    Error_Handler();
  }
  sMasterConfig.MasterOutputTrigger = TIM_TRGO_RESET;
  sMasterConfig.MasterSlaveMode = TIM_MASTERSLAVEMODE_DISABLE;
  if (HAL_TIMEx_MasterConfigSynchronization(&htim7, &sMasterConfig) != HAL_OK)
  {
    Error_Handler();
  }

}

static void MX_TIM10_Init(void)
{

  htim10.Instance = TIM10;
  htim10.Init.Prescaler = 1680;
  htim10.Init.CounterMode = TIM_COUNTERMODE_UP;
  htim10.Init.Period = 3000-1;
  htim10.Init.ClockDivision = TIM_CLOCKDIVISION_DIV1;
  htim10.Init.AutoReloadPreload = TIM_AUTORELOAD_PRELOAD_DISABLE;
  if (HAL_TIM_Base_Init(&htim10) != HAL_OK)
  {
    Error_Handler();
  }

}

static void MX_TIM11_Init(void)
{

  htim11.Instance = TIM11;
  htim11.Init.Prescaler = 16800-1;
  htim11.Init.CounterMode = TIM_COUNTERMODE_UP;
  htim11.Init.Period = 15000-1;
  htim11.Init.ClockDivision = TIM_CLOCKDIVISION_DIV1;
  htim11.Init.AutoReloadPreload = TIM_AUTORELOAD_PRELOAD_DISABLE;
  if (HAL_TIM_Base_Init(&htim11) != HAL_OK)
  {
    Error_Handler();
  }

}

static void MX_UART4_Init(void)
{

  huart4.Instance = UART4;
  huart4.Init.BaudRate = 115200;
  huart4.Init.WordLength = UART_WORDLENGTH_8B;
  huart4.Init.StopBits = UART_STOPBITS_1;
  huart4.Init.Parity = UART_PARITY_NONE;
  huart4.Init.Mode = UART_MODE_TX_RX;
  huart4.Init.HwFlowCtl = UART_HWCONTROL_NONE;
  huart4.Init.OverSampling = UART_OVERSAMPLING_16;
  if (HAL_UART_Init(&huart4) != HAL_OK)
  {
    Error_Handler();
  }

}

static void MX_USART2_UART_Init(void)
{

  huart2.Instance = USART2;
  huart2.Init.BaudRate = 9600;
  huart2.Init.WordLength = UART_WORDLENGTH_8B;
  huart2.Init.StopBits = UART_STOPBITS_1;
  huart2.Init.Parity = UART_PARITY_NONE;
  huart2.Init.Mode = UART_MODE_TX_RX;
  huart2.Init.HwFlowCtl = UART_HWCONTROL_NONE;
  huart2.Init.OverSampling = UART_OVERSAMPLING_16;
  if (HAL_UART_Init(&huart2) != HAL_OK)
  {
    Error_Handler();
  }

}

static void MX_USART3_UART_Init(void)
{

  huart3.Instance = USART3;
  huart3.Init.BaudRate = 9600;
  huart3.Init.WordLength = UART_WORDLENGTH_8B;
  huart3.Init.StopBits = UART_STOPBITS_1;
  huart3.Init.Parity = UART_PARITY_NONE;
  huart3.Init.Mode = UART_MODE_TX_RX;
  huart3.Init.HwFlowCtl = UART_HWCONTROL_NONE;
  huart3.Init.OverSampling = UART_OVERSAMPLING_16;
  if (HAL_UART_Init(&huart3) != HAL_OK)
  {
    Error_Handler();
  }

}

static void MX_USART6_UART_Init(void)
{

  huart6.Instance = USART6;
  huart6.Init.BaudRate = 19200;
  huart6.Init.WordLength = UART_WORDLENGTH_8B;
  huart6.Init.StopBits = UART_STOPBITS_1;
  huart6.Init.Parity = UART_PARITY_NONE;
  huart6.Init.Mode = UART_MODE_TX_RX;
  huart6.Init.HwFlowCtl = UART_HWCONTROL_NONE;
  huart6.Init.OverSampling = UART_OVERSAMPLING_16;
  if (HAL_UART_Init(&huart6) != HAL_OK)
  {
    Error_Handler();
  }

}

static void MX_GPIO_Init(void)
{
  GPIO_InitTypeDef GPIO_InitStruct = {0};

  /* GPIO Ports Clock Enable */
  __HAL_RCC_GPIOC_CLK_ENABLE();
  __HAL_RCC_GPIOH_CLK_ENABLE();
  __HAL_RCC_GPIOA_CLK_ENABLE();
  __HAL_RCC_GPIOB_CLK_ENABLE();

  /*Configure GPIO pin Output Level */
  HAL_GPIO_WritePin(GPIOC, GPIO_PIN_13|CS_Pin|Buzzer_Pin|GATE_D_Pin
                          |GATE_C_Pin, GPIO_PIN_RESET);

  /*Configure GPIO pin Output Level */
  HAL_GPIO_WritePin(GPIOB, M0_Pin|M1_Pin|FN_Pin|LED2_Pin
                          |LED1_Pin|GATE_B_Pin|GATE_A_Pin, GPIO_PIN_RESET);

  /*Configure GPIO pins : PC13 CS_Pin Buzzer_Pin GATE_D_Pin
                           GATE_C_Pin */
  GPIO_InitStruct.Pin = GPIO_PIN_13|CS_Pin|Buzzer_Pin|GATE_D_Pin
                          |GATE_C_Pin;
  GPIO_InitStruct.Mode = GPIO_MODE_OUTPUT_PP;
  GPIO_InitStruct.Pull = GPIO_NOPULL;
  GPIO_InitStruct.Speed = GPIO_SPEED_FREQ_LOW;
  HAL_GPIO_Init(GPIOC, &GPIO_InitStruct);

  /*Configure GPIO pin : PC14 */
  GPIO_InitStruct.Pin = GPIO_PIN_14;
  GPIO_InitStruct.Mode = GPIO_MODE_INPUT;
  GPIO_InitStruct.Pull = GPIO_PULLDOWN;
  HAL_GPIO_Init(GPIOC, &GPIO_InitStruct);

  /*Configure GPIO pins : M0_Pin M1_Pin FN_Pin LED2_Pin
                           LED1_Pin GATE_B_Pin GATE_A_Pin */
  GPIO_InitStruct.Pin = M0_Pin|M1_Pin|FN_Pin|LED2_Pin
                          |LED1_Pin|GATE_B_Pin|GATE_A_Pin;
  GPIO_InitStruct.Mode = GPIO_MODE_OUTPUT_PP;
  GPIO_InitStruct.Pull = GPIO_NOPULL;
  GPIO_InitStruct.Speed = GPIO_SPEED_FREQ_LOW;
  HAL_GPIO_Init(GPIOB, &GPIO_InitStruct);

  /*Configure GPIO pin : SECINP_Pin */
  GPIO_InitStruct.Pin = SECINP_Pin;
  GPIO_InitStruct.Mode = GPIO_MODE_INPUT;
  GPIO_InitStruct.Pull = GPIO_PULLUP;
  HAL_GPIO_Init(SECINP_GPIO_Port, &GPIO_InitStruct);

  /*Configure GPIO pin : BUTTON_Pin */
  GPIO_InitStruct.Pin = BUTTON_Pin;
  GPIO_InitStruct.Mode = GPIO_MODE_INPUT;
  GPIO_InitStruct.Pull = GPIO_PULLUP;
  HAL_GPIO_Init(BUTTON_GPIO_Port, &GPIO_InitStruct);

  /*Configure GPIO pins : PB8 INT2_Pin */
  GPIO_InitStruct.Pin = GPIO_PIN_8|INT2_Pin;
  GPIO_InitStruct.Mode = GPIO_MODE_IT_RISING;
  GPIO_InitStruct.Pull = GPIO_NOPULL;
  HAL_GPIO_Init(GPIOB, &GPIO_InitStruct);

}

/* USER CODE BEGIN 4 */
int16_t I2C_Testsensor(void){

	HAL_StatusTypeDef status;

	status=HAL_I2C_IsDeviceReady(&hi2c1,0x6A <<1, 4, 100);

	if(HAL_OK==status){

		return 1;
		}
	else {
		return 0;
		}

}
void E220_CONFIG(uint8_t ADDH, uint8_t ADDL, uint8_t CHN, uint8_t MODE)
{
    HAL_GPIO_WritePin(GPIOB, GPIO_PIN_2, SET);
    HAL_GPIO_WritePin(GPIOB, GPIO_PIN_1, SET);
    HAL_Delay(50);

    char cfg_buff[8] = {0}; // E220 için 8 elemanlı bir dizi kullanıyoruz
    enum {Transparent, Fixed} mode;
    mode = MODE;

    cfg_buff[0] = ADDH;
    cfg_buff[1] = ADDL;
    cfg_buff[2] = 0x62;  // 62 2.4kbps 63 4.8 kpbs
    cfg_buff[3] = 0x40; /// 0x00
    cfg_buff[4] = CHN;

    switch(mode){
        case Transparent:
            cfg_buff[5] = 0x00;  // opsiyon
            break;
        case Fixed:
            cfg_buff[5] = 0x11;
            break;
        default:
            cfg_buff[5] = 0x11;
     }

     cfg_buff[6] = 0x00;
     cfg_buff[7] = 0x00;

    HAL_UART_Transmit(&huart3, (uint8_t*) cfg_buff, 8, 1000);

    HAL_Delay(25);
    HAL_GPIO_WritePin(GPIOB, GPIO_PIN_2, RESET);
    HAL_GPIO_WritePin(GPIOB, GPIO_PIN_1, RESET);
    HAL_Delay(25);
}

float BME280_Get_Altitude(void)
{
	float press = comp_data.pressure / 10000.0;
	float temp = comp_data.temperature / 100.0;
	alt = 44330 * (1 - pow((press / 1013.25),(1/5.255)));
	//alt = ((pow((P0/press), (1/5.257))-1) * (temp + 273.15)) / 0.0065;

	return (alt);
}
int8_t user_i2c_read(uint8_t id, uint8_t reg_addr, uint8_t *data, uint16_t len)
{
  if(HAL_I2C_Master_Transmit(&hi2c1, (id << 1), &reg_addr, 1, 10) != HAL_OK) return -1;
  if(HAL_I2C_Master_Receive(&hi2c1, (id << 1) | 0x01, data, len, 10) != HAL_OK) return -1;

  return 0;
}

void user_delay_ms(uint32_t period)
{
  HAL_Delay(period);
}
int8_t user_i2c_write(uint8_t id, uint8_t reg_addr, uint8_t *data, uint16_t len)
{
  int8_t *buf;
  buf = malloc(len +1);
  buf[0] = reg_addr;
  memcpy(buf +1, data, len);

  if(HAL_I2C_Master_Transmit(&hi2c1, (id << 1), (uint8_t*)buf, len + 1, HAL_MAX_DELAY) != HAL_OK) return -1;

  free(buf);
  return 0;
}

void union_converter(void)
{
	 float2unit8 f2u8_gpsalt;
    f2u8_gpsalt.fVal=gps.altitude;
		 for(uint8_t i=0;i<4;i++)
		 {
			loratx[i+5]=f2u8_gpsalt.array[i];
		 }

	 float2unit8 f2u8_latitude;
	 f2u8_latitude.fVal=gps.latitude;
		 for(uint8_t i=0;i<4;i++)
		 {
			loratx[i+9]=f2u8_latitude.array[i];
		 }

	 float2unit8 f2u8_longitude;
	 f2u8_longitude.fVal=gps.longitude;
		 for(uint8_t i=0;i<4;i++)
		 {
			loratx[i+13]=f2u8_longitude.array[i];
		 }

	 float2unit8 f2u8_altitude;
	 f2u8_altitude.fVal=altitude;
		 for(uint8_t i=0;i<4;i++)
		 {
			loratx[i+17]=f2u8_altitude.array[i];
		 }
	 float2unit8 f2u8_speed;
	 f2u8_speed.fVal=speed;
		 for(uint8_t i=0;i<4;i++)
		 {
			loratx[i+21]=f2u8_speed.array[i];
		 }

	 float2unit8 f2u8_temp;
	 f2u8_temp.fVal=temperature;
		 for(uint8_t i=0;i<4;i++)
		 {
			loratx[i+25]=f2u8_temp.array[i];
		 }

	 float2unit8 f2u8_accx;
	 f2u8_accx.fVal=Lsm_Sensor.Accel_X;
		 for(uint8_t i=0;i<4;i++)
		 {
			loratx[i+29]=f2u8_accx.array[i];
		 }

	 float2unit8 f2u8_accy;
	 f2u8_accy.fVal=Lsm_Sensor.Accel_Y;
	 	 for(uint8_t i=0;i<4;i++)
		 {
			loratx[i+33]=f2u8_accy.array[i];
		 }

	 float2unit8 f2u8_accz;
	 f2u8_accz.fVal=Lsm_Sensor.Accel_Z;
	 	 for(uint8_t i=0;i<4;i++)
		 {
		    loratx[i+37]=f2u8_accz.array[i];
		 }

	 float2unit8 f2u8_roll;
	 f2u8_roll.fVal=gravity_normal_angle;// real roll
		 for(uint8_t i=0;i<4;i++)
		 {
			loratx[i+41]=f2u8_roll.array[i];
		 }
	 float2unit8 f2u8_pitch;
	 f2u8_pitch.fVal=real_pitch;
		 for(uint8_t i=0;i<4;i++)
		 {
			loratx[i+45]=f2u8_pitch.array[i];
		 }

		 f2u8_altitude.fVal=altitude_max;

			loratx[69] = f2u8_altitude.array[0];
			loratx[70] = f2u8_altitude.array[1];
			loratx[71] = f2u8_altitude.array[2];
			loratx[72] = f2u8_altitude.array[3];

}

void EGU_Buff_Load(void)
{
	loratx[52]=EGU_RX_BUFFER[29];//EGU HATA
	loratx[53]=EGU_RX_BUFFER[30];//Fitil kontrol 0 ise fitil bağlı değil 1 ise fitil bağlı
	loratx[54]=EGU_RX_BUFFER[6];//EGU BATARYA-F
	loratx[55]=EGU_RX_BUFFER[7];
	loratx[56]=EGU_RX_BUFFER[8];
	loratx[57]=EGU_RX_BUFFER[9];
	loratx[58]=EGU_RX_BUFFER[22];//EGU ANGLE-F
	loratx[59]=EGU_RX_BUFFER[23];
	loratx[60]=EGU_RX_BUFFER[24];
	loratx[61]=EGU_RX_BUFFER[25];
	loratx[62]=EGU_RX_BUFFER[10];//EGU IRTIFA-F
	loratx[63]=EGU_RX_BUFFER[11];
	loratx[64]=EGU_RX_BUFFER[12];
	loratx[65]=EGU_RX_BUFFER[13];
	loratx[66]=EGU_RX_BUFFER[26];//EGU UCUS BASLADIMI?
	loratx[67]=EGU_RX_BUFFER[28];//manyetik switch 1 ise kopmadı 0 ise koptu
	loratx[68]=EGU_RX_BUFFER[27];//MOTOR ATESLEME TALEBİ GELDİ Mİ?
	loratx[74]='\n';

}

void Buzzer(int how_many , uint32_t how_long)
{
	if((how_many %2) == 1) how_many++;

	  for(uint8_t i=0;i<how_many; i++)
	  {
	  	    HAL_GPIO_TogglePin(GPIOC,GPIO_PIN_4);
	  	    HAL_GPIO_TogglePin(GPIOB,GPIO_PIN_14);
	  	    HAL_GPIO_TogglePin(GPIOB,GPIO_PIN_13);
	  		HAL_Delay(how_long);

	  }
}

void Altitude_Offset()
{
	for(uint8_t i=0;i<10;i++)
	{
		HAL_Delay(40);
	  rslt = bme280_set_sensor_mode(BME280_FORCED_MODE, &dev);
	  rslt = bme280_get_sensor_data(BME280_ALL, &comp_data, &dev);
	  if(rslt == BME280_OK)
	  { pressure = comp_data.pressure;
	    offset_altitude=BME280_Get_Altitude();
	  }
	}
}
void Flash_toplu_temizleme(int page)
{
	for(uint8_t i=0;i<page;i++)
		{
		W25Q_Erase_Sector(i);
		HAL_Delay(500);
		}
}

/* USER CODE END 4 */

void Error_Handler(void)
{
  __disable_irq();
  while (1)
  {
  }
}
